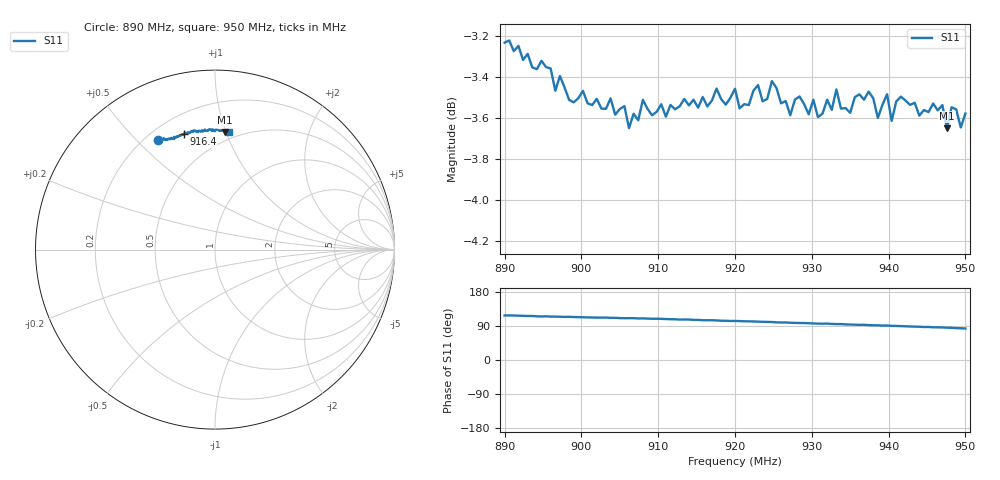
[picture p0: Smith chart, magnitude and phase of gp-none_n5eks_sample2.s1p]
# HZ S RI R 50
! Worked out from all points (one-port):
!   101 points, 890 MHz to 950 MHz, reference 50 ohm
!   lowest |S11| = -3.7 dB at 947.6 MHz (marker M1), VSWR 4.83, Z = 21.5 + j49.4 ohm
!   |S11| at or under -10 dB: nowhere
!   S11 on the Smith chart (normalised r, x): 890 MHz: 0.25, +0.58; 916.4 MHz: 0.31, +0.72; 950 MHz: 0.44, +1.03
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8.9e8  -0.3184 0.6112
8.978e8  -0.2708 0.6151
9.032e8  -0.249 0.6156
9.05e8  -0.2335 0.6215
9.062e8  -0.2289 0.6157
9.104e8  -0.2134 0.6306
9.128e8  -0.1908 0.6371
9.14e8  -0.1922 0.637
9.164e8  -0.1716 0.6424
9.2e8  -0.1524 0.654
9.206e8  -0.1463 0.6479
9.248e8  -0.1198 0.6637
9.272e8  -0.0953 0.6548
9.278e8  -0.0931 0.661
9.308e8  -0.0692 0.6573
9.32e8  -0.0708 0.6637
9.332e8  -0.056 0.669
9.35e8  -0.0417 0.6612
9.374e8  -0.0246 0.67
9.386e8  -0.0175 0.6604
9.398e8  -0.0121 0.6694
9.404e8  -0.00086 0.6596
9.416e8  0.00702 0.6685
9.428e8  0.0177 0.6653
9.47e8  0.0475 0.6637
9.476e8  0.0536 0.6547
9.482e8  0.0584 0.662
9.5e8  0.0787 0.6576
